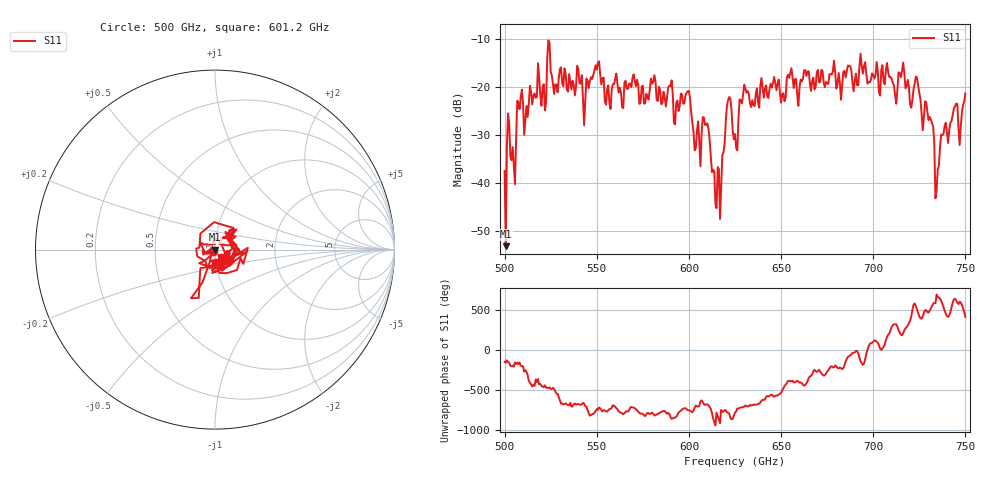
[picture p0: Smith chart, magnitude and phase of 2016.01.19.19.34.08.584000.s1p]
!Created with skrf (http://scikit-rf.org).
# GHz S RI R 50.0
!freq ReS11 ImS11
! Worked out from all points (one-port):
!   401 points, 500 GHz to 750 GHz, reference 50 ohm
!   lowest |S11| = -53.1 dB at 500.6 GHz (marker M1), VSWR 1.00, Z = 49.8 - j0.0693 ohm
!   |S11| at or under -10 dB: start of sweep to end of sweep
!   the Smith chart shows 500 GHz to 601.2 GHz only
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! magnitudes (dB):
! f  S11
! 500 GHz  -37.5
! 500.6 GHz  -53.1
! 502.5 GHz  -27.7
! 505 GHz  -36.5
! 508.1 GHz  -24.7
! 521.2 GHz  -19.5
! 524.4 GHz  -10.9
! 527.5 GHz  -19.5
! 531.2 GHz  -19.3
! 543.8 GHz  -22.9
! 550 GHz  -16.4
! 562.5 GHz  -20.2
! 580.6 GHz  -19.1
! 593.8 GHz  -22.9
! 599.4 GHz  -21.0
! 605 GHz  -27.2
! 608.8 GHz  -27.9
! 615.6 GHz  -36.7
! 621.2 GHz  -22.8
! 625 GHz  -29.8
! 630.6 GHz  -20.4
! 656.2 GHz  -18.3
! 687.5 GHz  -15.8
! 718.8 GHz  -18.6
! 729.4 GHz  -25.2
! 735 GHz  -37.2
! 738.1 GHz  -29.8
! 750 GHz  -21.4
